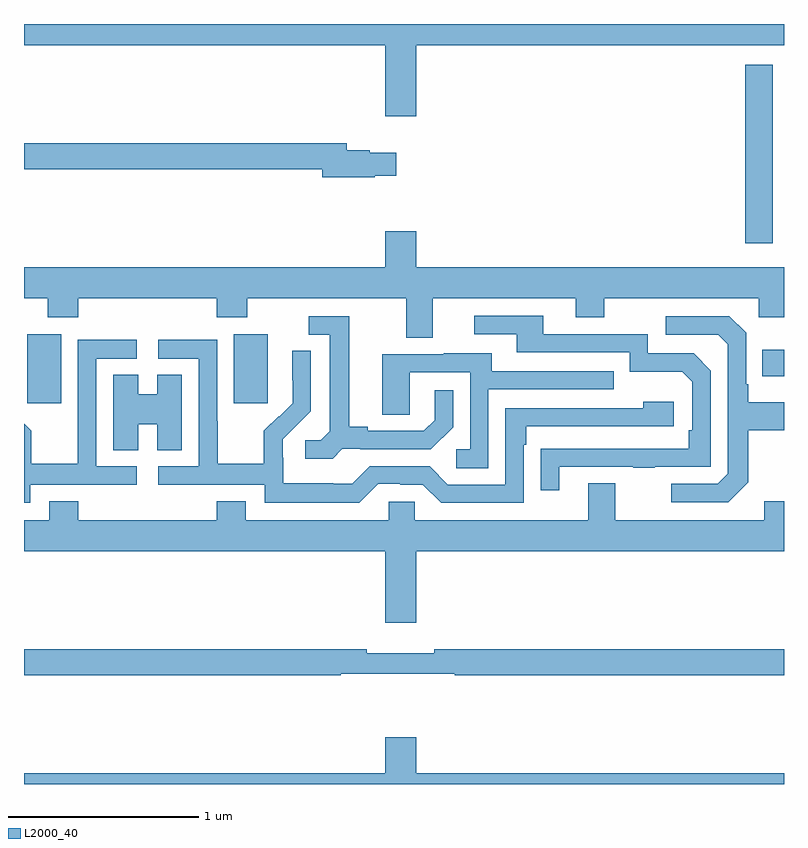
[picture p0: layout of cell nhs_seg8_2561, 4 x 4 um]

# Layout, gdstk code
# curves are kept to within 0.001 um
import gdstk
lib = gdstk.Library(unit=1e-6, precision=1e-09)
def R(c, l, rs):  # rectangles x0, y0, x1, y1
    for r in rs: c.add(gdstk.rectangle(r[:2], r[2:], *l))
def P(c, l, *ps):  # polygons
    for p in ps: c.add(gdstk.Polygon(p, *l))
L2000_40 = (2000, 40)

nhs_seg8_2561 = lib.new_cell('nhs_seg8_2561')
R(nhs_seg8_2561, L2000_40, [(271.016,1159.905,271.195,1160.266), (272.105,1159.905,272.284,1160.266), (274.885,1160.045,275,1160.185), (274.796,1160.745,274.942,1161.685)])
P(nhs_seg8_2561, L2000_40, [(273.064,1161.788),(275,1161.788),(275,1161.9),(271,1161.9),(271,1161.788),(272.9,1161.788),(272.9,1161.414),(273.064,1161.414)],
  [(272.846,1161.101),(272.959,1161.101),(272.959,1161.223),(272.82,1161.223),(272.82,1161.236),(272.698,1161.236),(272.698,1161.272),(271,1161.272),(271,1161.136),(272.57,1161.136),(272.57,1161.094),(272.846,1161.094)],
  [(273.151,1160.456),(273.905,1160.456),(273.905,1160.357),(274.053,1160.357),(274.053,1160.456),(274.866,1160.456),(274.866,1160.357),(275,1160.357),(275,1160.62),(273.064,1160.62),(273.064,1160.809),(272.9,1160.809),(272.9,1160.62),(271,1160.62),(271,1160.456),(271.126,1160.456),(271.126,1160.357),(271.286,1160.357),(271.286,1160.456),(272.015,1160.456),(272.015,1160.357),(272.175,1160.357),(272.175,1160.456),(273.011,1160.456),(273.011,1160.248),(273.151,1160.248)],
  [(273.817,1159.569),(274.207,1159.569),(274.207,1159.564),(274.319,1159.564),(274.319,1159.569),(274.614,1159.569),(274.614,1160.076),(274.524,1160.166),(274.284,1160.166),(274.284,1160.268),(273.733,1160.268),(273.733,1160.364),(273.369,1160.364),(273.369,1160.268),(273.593,1160.268),(273.593,1160.172),(274.188,1160.172),(274.188,1160.069),(274.465,1160.069),(274.518,1160.016),(274.518,1159.762),(274.498,1159.762),(274.498,1159.665),(273.721,1159.664),(273.721,1159.446),(273.817,1159.446)],
  [(274.813,1159.489),(274.813,1159.762),(275,1159.762),(275,1159.909),(274.813,1159.909),(274.813,1160.005),(274.8,1160.005),(274.8,1160.274),(274.713,1160.361),(274.377,1160.361),(274.377,1160.265),(274.653,1160.265),(274.704,1160.214),(274.704,1159.533),(274.65,1159.479),(274.407,1159.479),(274.407,1159.383),(274.707,1159.383)],
  [(272.676,1159.665),(272.77,1159.665),(272.77,1159.662),(273.142,1159.662),(273.258,1159.778),(273.258,1159.972),(273.161,1159.972),(273.161,1159.815),(273.104,1159.758),(272.809,1159.758),(272.809,1159.781),(272.713,1159.781),(272.713,1160.361),(272.499,1160.361),(272.499,1160.265),(272.609,1160.265),(272.609,1159.757),(272.562,1159.71),(272.481,1159.71),(272.481,1159.613),(272.624,1159.613)],
  [(272.865,1159.479),(272.981,1159.479),(272.981,1159.476),(273.099,1159.476),(273.195,1159.38),(273.63,1159.38),(273.63,1159.685),(273.643,1159.685),(273.643,1159.782),(274.42,1159.782),(274.42,1159.912),(274.259,1159.912),(274.259,1159.878),(273.534,1159.878),(273.534,1159.476),(273.231,1159.476),(273.135,1159.572),(272.82,1159.572),(272.727,1159.479),(272.627,1159.479),(272.627,1159.483),(272.364,1159.483),(272.364,1159.617),(272.362,1159.617),(272.362,1159.714),(272.508,1159.862),(272.508,1160.18),(272.412,1160.18),(272.412,1160.026),(272.414,1160.026),(272.414,1159.904),(272.343,1159.833),(272.34,1159.836),(272.263,1159.759),(272.263,1159.585),(272.019,1159.585),(272.019,1159.808),(272.016,1159.808),(272.016,1160.238),(271.707,1160.238),(271.707,1160.139),(271.92,1160.139),(271.92,1159.572),(271.707,1159.572),(271.707,1159.476),(272.268,1159.476),(272.268,1159.379),(272.765,1159.379)],
  [(271.032,1159.476),(271.594,1159.476),(271.594,1159.572),(271.38,1159.572),(271.38,1160.139),(271.594,1160.139),(271.594,1160.238),(271.284,1160.238),(271.284,1159.808),(271.282,1159.808),(271.282,1159.585),(271.037,1159.585),(271.037,1159.759),(271,1159.796),(271,1159.379),(271.032,1159.379)],
  [(273.444,1159.977),(274.103,1159.977),(274.103,1160.073),(273.463,1160.073),(273.463,1160.167),(273.209,1160.167),(273.209,1160.163),(272.885,1160.163),(272.885,1159.843),(273.03,1159.843),(273.03,1160.067),(273.348,1160.067),(273.348,1159.662),(273.276,1159.662),(273.276,1159.561),(273.444,1159.561)],
  [(271.6,1159.793),(271.7,1159.793),(271.7,1159.657),(271.831,1159.657),(271.831,1160.054),(271.7,1160.054),(271.7,1159.951),(271.6,1159.951),(271.6,1160.054),(271.469,1160.054),(271.469,1159.657),(271.6,1159.657)],
  [(273.064,1159.124),(275,1159.124),(275,1159.387),(274.895,1159.387),(274.895,1159.288),(274.111,1159.288),(274.111,1159.483),(273.971,1159.483),(273.971,1159.288),(273.057,1159.288),(273.057,1159.386),(272.919,1159.386),(272.919,1159.288),(272.167,1159.288),(272.167,1159.387),(272.015,1159.387),(272.015,1159.288),(271.286,1159.288),(271.286,1159.387),(271.133,1159.387),(271.133,1159.288),(271,1159.288),(271,1159.124),(272.9,1159.124),(272.9,1158.75),(273.064,1158.75)],
  [(272.668,1158.48),(273.268,1158.48),(273.268,1158.472),(275,1158.472),(275,1158.608),(273.16,1158.608),(273.16,1158.589),(272.804,1158.589),(272.804,1158.608),(271,1158.608),(271,1158.472),(272.668,1158.472)],
  [(275,1157.956),(273.064,1157.956),(273.064,1158.145),(272.9,1158.145),(272.9,1157.956),(271,1157.956),(271,1157.9),(275,1157.9)])

lib.write_gds('nhs_seg8_2561.gds')
